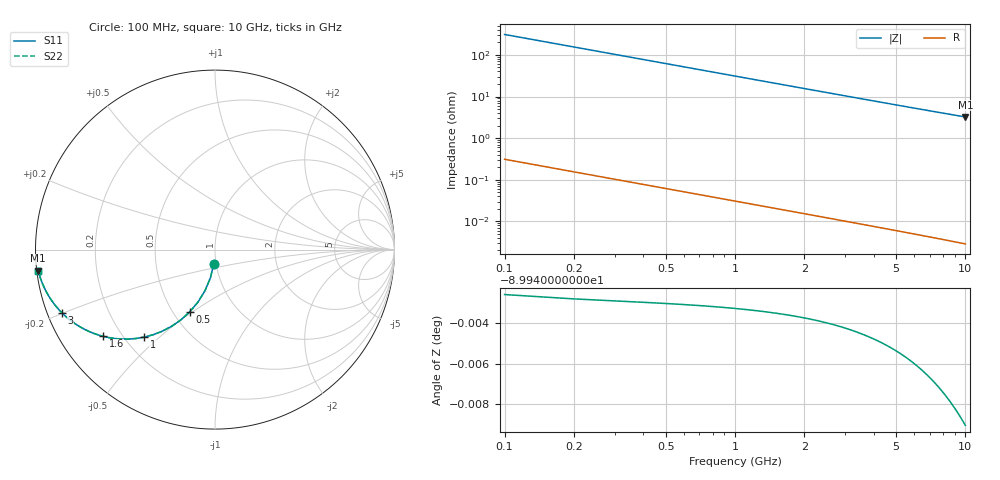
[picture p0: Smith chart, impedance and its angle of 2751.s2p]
# Hz S RI R 50.00
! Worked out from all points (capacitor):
!   100 points, 100 MHz to 10 GHz, reference 50 ohm
!   read as one part in shunt: C = 5.14 pF near 100 MHz
!   lowest |Z| = 3.23 ohm at 10 GHz (marker M1)
!   S11 on the Smith chart (normalised r, x): 100 MHz: 0.97, -0.16; 500 MHz: 0.61, -0.49; 1 GHz: 0.28, -0.45; 1.6 GHz: 0.13, -0.34; 3 GHz: 0.04, -0.20; 10 GHz: 0.00, -0.06
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1e8  -0.00654 -0.0801  0.9934 -0.0802  0.9934 -0.0802  -0.00654 -0.0801
2e8  -0.0255 -0.1572  0.9744 -0.1574  0.9744 -0.1574  -0.0255 -0.1572
3e8  -0.0556 -0.2284  0.9444 -0.2287  0.9444 -0.2287  -0.0556 -0.2284
4e8  -0.0946 -0.2919  0.9054 -0.2923  0.9054 -0.2923  -0.0946 -0.2919
5e8  -0.1402 -0.3464  0.8598 -0.3469  0.8598 -0.3469  -0.1402 -0.3464
6e8  -0.19 -0.3915  0.8099 -0.3921  0.8099 -0.3921  -0.19 -0.3915
7e8  -0.2419 -0.4274  0.758 -0.4281  0.758 -0.4281  -0.2419 -0.4274
8e8  -0.2941 -0.4547  0.7059 -0.4555  0.7059 -0.4555  -0.2941 -0.4547
1e9  -0.394 -0.4877  0.6059 -0.4886  0.6059 -0.4886  -0.394 -0.4877
1.3e9  -0.5232 -0.4983  0.4768 -0.4996  0.4768 -0.4996  -0.5232 -0.4983
1.6e9  -0.6241 -0.4831  0.3759 -0.4846  0.3759 -0.4846  -0.6241 -0.4831
1.8e9  -0.6773 -0.4661  0.3227 -0.4679  0.3227 -0.4679  -0.6773 -0.4661
2e9  -0.7214 -0.4468  0.2786 -0.4488  0.2786 -0.4488  -0.7214 -0.4468
2.3e9  -0.7737 -0.4168  0.2262 -0.419  0.2262 -0.419  -0.7737 -0.4168
2.6e9  -0.8136 -0.3876  0.1864 -0.3902  0.1864 -0.3902  -0.8136 -0.3876
3e9  -0.853 -0.3521  0.147 -0.3551  0.147 -0.3551  -0.853 -0.3521
3.4e9  -0.8816 -0.3209  0.1184 -0.3243  0.1184 -0.3243  -0.8816 -0.3209
4.2e9  -0.9189 -0.2703  0.0811 -0.2745  0.0811 -0.2745  -0.9189 -0.2703
5.1e9  -0.9434 -0.2279  0.0565 -0.233  0.0565 -0.233  -0.9434 -0.2279
6.7e9  -0.9664 -0.1763  0.0336 -0.1831  0.0336 -0.1831  -0.9664 -0.1763
8.4e9  -0.9784 -0.1406  0.0216 -0.1492  0.0216 -0.1492  -0.9784 -0.1406
1e10  -0.9847 -0.117  0.0152 -0.1273  0.0152 -0.1273  -0.9847 -0.117
